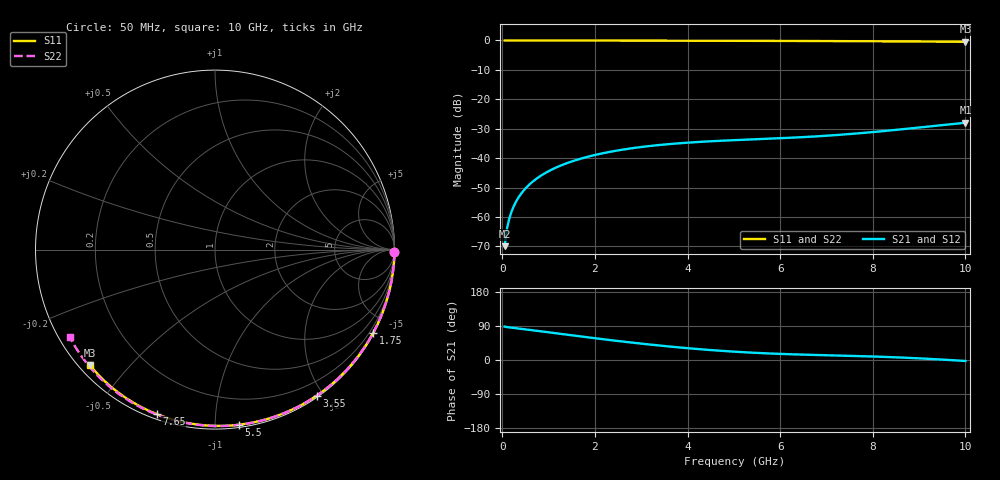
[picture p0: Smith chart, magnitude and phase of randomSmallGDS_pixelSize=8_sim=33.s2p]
! freq	dB(S11)	phase(S11)	dB(S12)	phase(S12)
!  dB(S21)	phase(S21)	dB(S22)	phase(S22)
!S-par simulation data
#  GHz  S  DB  R 50
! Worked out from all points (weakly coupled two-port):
!   200 points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, 50 MHz to 10 GHz, reference 50 ohm
!   highest |S21| = -27.97 dB at 10 GHz (marker M1); lowest = -69.9 dB at 50 MHz (marker M2)
!   lowest |S11| = -0.5 dB at 10 GHz (marker M3), VSWR 38.13, Z = 1.51 - j19.5 ohm
!   |S11| at or under -10 dB: nowhere
!   |S22| runs from -0.5 to 0.0 dB; largest |S21 - S12| = 0
!   S11 on the Smith chart (normalised r, x): 50 MHz: open; 1.75 GHz: 0.04, -4.03; 3.55 GHz: 0.02, -1.92; 5.5 GHz: 0.02, -1.14; 7.65 GHz: 0.02, -0.71; 10 GHz: 0.03, -0.39
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0.05  -0.00 -0.8  -69.91 88.0  -69.91 88.0  -0.00 -0.9
0.1  -0.00 -1.6  -64.02 86.9  -64.02 86.9  -0.00 -1.8
0.15  -0.00 -2.4  -60.59 86.1  -60.59 86.1  -0.00 -2.6
0.2  -0.00 -3.2  -58.14 85.4  -58.14 85.4  -0.00 -3.5
0.25  -0.00 -4.1  -56.24 84.8  -56.24 84.8  -0.00 -4.4
0.35  -0.00 -5.7  -53.36 83.3  -53.36 83.3  -0.00 -6.1
0.5  -0.01 -8.1  -50.30 81.1  -50.30 81.1  -0.01 -8.8
0.7  -0.01 -11.3  -47.43 77.9  -47.43 77.9  -0.01 -12.2
1  -0.02 -16.1  -44.42 73.1  -44.42 73.1  -0.02 -17.4
1.35  -0.03 -21.6  -41.96 67.5  -41.96 67.5  -0.03 -23.4
1.75  -0.04 -27.9  -39.92 61.3  -39.92 61.3  -0.04 -30.2
2.5  -0.05 -39.4  -37.36 50.1  -37.36 50.1  -0.06 -42.7
3.4  -0.07 -52.9  -35.52 38.1  -35.52 38.1  -0.08 -57.2
3.55  -0.07 -55.1  -35.29 36.3  -35.29 36.3  -0.08 -59.6
4.3  -0.09 -65.8  -34.43 28.1  -34.43 28.1  -0.10 -71.2
5.05  -0.12 -76.2  -33.85 21.7  -33.85 21.7  -0.13 -82.4
5.5  -0.13 -82.3  -33.55 18.7  -33.55 18.7  -0.14 -88.9
6.7  -0.19 -97.8  -32.67 13.4  -32.67 13.4  -0.20 -105.6
7.65  -0.25 -109.6  -31.62 10.5  -31.62 10.5  -0.27 -118.4
8.35  -0.30 -118.0  -30.62 7.8  -30.62 7.8  -0.32 -127.5
9.2  -0.37 -128.0  -29.27 3.1  -29.27 3.1  -0.40 -138.6
10  -0.46 -137.3  -27.97 -2.6  -27.97 -2.6  -0.49 -149.0
